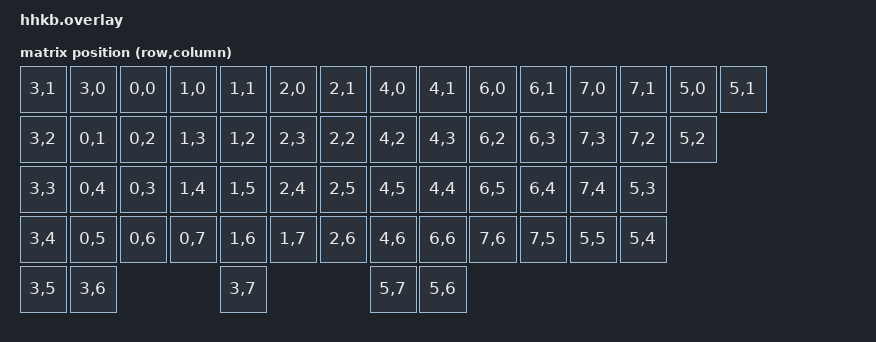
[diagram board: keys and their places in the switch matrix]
#include <dt-bindings/zmk/matrix_transform.h>
#include <dt-bindings/zmk/kscan_mock.h>
/ {
    chosen {
        zmk,kscan = &kscan0;
        zmk,matrix_transform = &default_transform;
    };

    kscan0: kscan_0 {
        compatible = "zmk,kscan-gpio-topre";
        label = "KSCAN";
        gpios = <&pro_micro_d 9 GPIO_ACTIVE_HIGH>, /* 0: POWER */
                <&pro_micro_d 8 (GPIO_ACTIVE_LOW|GPIO_PULL_UP)>, /* 1: KEY */
                <&pro_micro_d 7 GPIO_ACTIVE_HIGH>, /* 2: HYS */
                <&pro_micro_d 6 GPIO_ACTIVE_HIGH>, /* 3: BIT0 */
                <&pro_micro_d 5 GPIO_ACTIVE_HIGH>, /* 4: BIT1 */
                <&pro_micro_d 4 GPIO_ACTIVE_HIGH>, /* 5: BIT2 */
                <&pro_micro_d 3 GPIO_ACTIVE_HIGH>, /* 6: BIT3 */
                <&pro_micro_d 2 GPIO_ACTIVE_HIGH>, /* 7: BIT4 */
                <&pro_micro_d 0 GPIO_ACTIVE_HIGH>, /* 8: BIT5 */
                <&pro_micro_d 1 GPIO_ACTIVE_HIGH>; /* 9: STROBE */
    };

    pm_wake_sensor {
        compatible = "zmk,pm-wake-sensor";
        status = "okay";
        power-gpios = <&pro_micro_d 19 GPIO_ACTIVE_HIGH>;
        sensor-gpios = <&pro_micro_d 10 (GPIO_ACTIVE_LOW|GPIO_PULL_DOWN)>;
    };

    default_transform: keymap_transform_0 {
        compatible = "zmk,matrix-transform";
        columns = <8>;
        rows = <8>;
        map = <
        RC(3,1) RC(3,0) RC(0,0) RC(1,0) RC(1,1) RC(2,0) RC(2,1) RC(4,0) RC(4,1) RC(6,0) RC(6,1) RC(7,0) RC(7,1) RC(5,0) RC(5,1)
        RC(3,2) RC(0,1) RC(0,2) RC(1,3) RC(1,2) RC(2,3) RC(2,2) RC(4,2) RC(4,3) RC(6,2) RC(6,3) RC(7,3) RC(7,2) RC(5,2)
        RC(3,3) RC(0,4) RC(0,3) RC(1,4) RC(1,5) RC(2,4) RC(2,5) RC(4,5) RC(4,4) RC(6,5) RC(6,4) RC(7,4) RC(5,3)
        RC(3,4) RC(0,5) RC(0,6) RC(0,7) RC(1,6) RC(1,7) RC(2,6) RC(4,6) RC(6,6) RC(7,6) RC(7,5) RC(5,5) RC(5,4)
        RC(3,5) RC(3,6)                 RC(3,7)                 RC(5,7) RC(5,6)
        >;
    };
};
